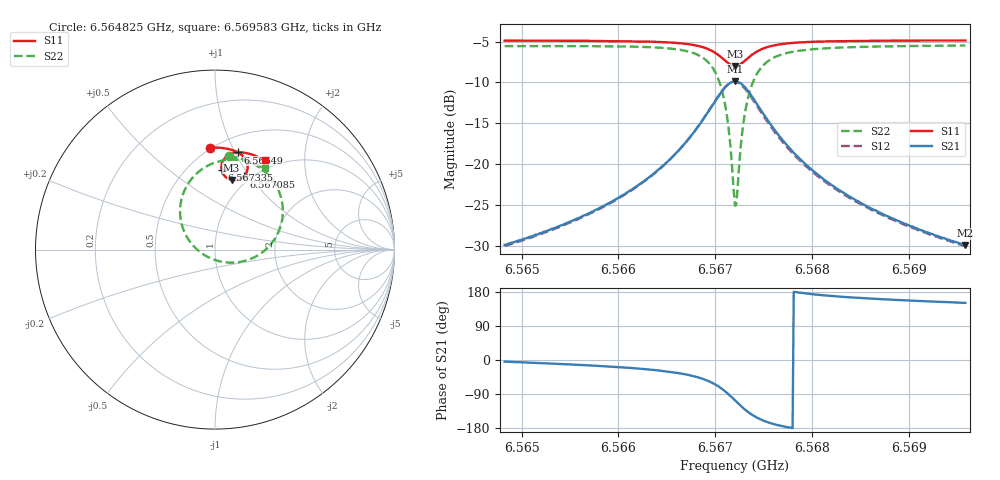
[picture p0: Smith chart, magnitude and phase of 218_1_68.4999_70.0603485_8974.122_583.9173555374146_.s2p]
#  HZ  S  RI  R  50.00
! Rohde & Schwarz Vector Network Analyzer
! Rohde-Schwarz,ZNB20-2Port,1311601062101988,3.16
! Created: UTC 3/20/2024, 5:13:26 PM
! freq[Hz]  re:S11  im:S11  re:S21  im:S21  re:S12  im:S12  re:S22  im:S22
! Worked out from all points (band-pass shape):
!   401 points, 6.564825 GHz to 6.569583 GHz, reference 50 ohm
!   highest |S21| = -9.87 dB at 6.567204 GHz (marker M1); lowest = -29.9 dB at 6.569583 GHz (marker M2)
!   |S21| within 3 dB of the highest: 6.566968 GHz to 6.567442 GHz (474.8 kHz wide, 0.00723 % of centre)
!   lowest |S11| = -8.0 dB at 6.567204 GHz (marker M3), VSWR 2.32, Z = 43.2 + j39.7 ohm
!   |S11| at or under -10 dB: nowhere
!   |S22| runs from -25.1 to -5.5 dB; largest |S21 - S12| = 0.016
!   S11 on the Smith chart (normalised r, x): 6.564825 GHz: 0.49, +0.83; 6.56649 GHz: 0.66, +1.03; 6.567085 GHz: 0.93, +0.94; 6.567335 GHz: 0.71, +0.79; 6.569583 GHz: 0.88, +1.30
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6.5648245e9  -0.0264 0.5685  0.0319 -0.00243  0.0313 -0.00295  0.076 0.5212
6.5656216e9  0.0409 0.5662  0.0465 -0.0109  0.0457 -0.0115  0.1573 0.5027
6.566038e9  0.0796 0.5595  0.0606 -0.0214  0.0596 -0.022  0.2114 0.4799
6.5664187e9  0.1202 0.5457  0.0823 -0.0432  0.0812 -0.0442  0.2772 0.4347
6.5664901e9  0.1287 0.5412  0.088 -0.0504  0.0868 -0.0514  0.2924 0.4204
6.566728e9  0.1594 0.517  0.1101 -0.0917  0.1084 -0.0935  0.3493 0.3399
6.5669065e9  0.1799 0.478  0.12 -0.1602  0.1168 -0.1637  0.378 0.2079
6.5670136e9  0.1788 0.4385  0.0995 -0.2293  0.0928 -0.2341  0.3426 0.0758
6.5670849e9  0.161 0.4078  0.0539 -0.2814  0.0431 -0.2848  0.2572 -0.0202
6.5671325e9  0.1381 0.3918  0.00349 -0.307  -0.0101 -0.3074  0.1628 -0.0639
6.567192e9  0.0999 0.3859  -0.0754 -0.3115  -0.0902 -0.3058  0.0195 -0.0638
6.5672039e9  0.0921 0.3872  -0.0914 -0.3075  -0.1059 -0.3007  -0.00879 -0.0549
6.5672277e9  0.0769 0.3925  -0.122 -0.2953  -0.1353 -0.2858  -0.0615 -0.0287
6.5672872e9  0.048 0.4174  -0.1805 -0.2439  -0.1887 -0.2305  -0.1568 0.0706
6.5673348e9  0.0372 0.4426  -0.2042 -0.1943  -0.2077 -0.1805  -0.19 0.1608
6.56743e9  0.0404 0.4864  -0.2059 -0.1097  -0.2039 -0.0991  -0.1784 0.3084
6.5675727e9  0.0679 0.5223  -0.1697 -0.04  -0.166 -0.0342  -0.1008 0.4254
6.5677393e9  0.1001 0.5378  -0.1303 -0.00691  -0.1271 -0.00385  -0.0193 0.4775
6.568001e9  0.139 0.5422  -0.0914 0.0101  -0.089 0.0116  0.0672 0.4997
6.5683579e9  0.179 0.5369  -0.0629 0.0157  -0.0614 0.0164  0.1404 0.4986
6.5687981e9  0.219 0.525  -0.0444 0.0166  -0.0434 0.017  0.2006 0.4855
6.5695833e9  0.2794 0.4976  -0.0278 0.0156  -0.0272 0.0157  0.2763 0.4539
